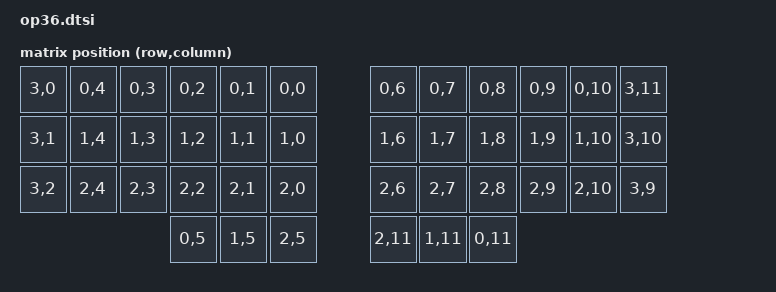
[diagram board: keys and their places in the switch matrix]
/*
 * Ergohaven Omega Point 36, shared by both halves and the Qube dongle.
 *
 * Pins and matrix order come from the vendor's ZMK shield
 * (ergohaven/ergohaven-zmk boards/shields/op36, 2026.03.16) and agree with
 * their RMK firmware (ergohaven/rmk keyboards/classic_qube, v0.1.8).
 *
 * Each half is a 3x6 matrix: columns 0-4 are the main keys, column 5 is the
 * three thumb keys. The left half's main columns run outer-to-inner as 4..0;
 * the right half's run inner-to-outer as 0..4, offset to 6..10.
 *
 * The transform is the 42-position layout the shared keymap is written against
 * (zmk-helpers key-labels/42.h), exactly as on the Toucan. The OP36 has no outer
 * pinky column, so those six positions map to row 3, which no kscan here ever
 * reports; the keymap binds them &none. This keeps every key-label -- combos,
 * hold-trigger positions -- pointing at the right physical key.
 *
 * All three parts must carry this identical transform.
 */

#include <dt-bindings/zmk/matrix_transform.h>

#define OP36_COLUMNS 12
#define OP36_ROWS 4

/ {
    chosen {
        zmk,matrix-transform = &default_transform;
    };

    default_transform: keymap_transform_0 {
        compatible = "zmk,matrix-transform";
        columns = <OP36_COLUMNS>;
        rows = <OP36_ROWS>;
        map = <
RC(3,0) RC(0,4) RC(0,3) RC(0,2) RC(0,1) RC(0,0)    RC(0,6) RC(0,7) RC(0,8) RC(0,9) RC(0,10) RC(3,11)
RC(3,1) RC(1,4) RC(1,3) RC(1,2) RC(1,1) RC(1,0)    RC(1,6) RC(1,7) RC(1,8) RC(1,9) RC(1,10) RC(3,10)
RC(3,2) RC(2,4) RC(2,3) RC(2,2) RC(2,1) RC(2,0)    RC(2,6) RC(2,7) RC(2,8) RC(2,9) RC(2,10) RC(3,9)
                        RC(0,5) RC(1,5) RC(2,5)    RC(2,11) RC(1,11) RC(0,11)
        >;
    };
};
